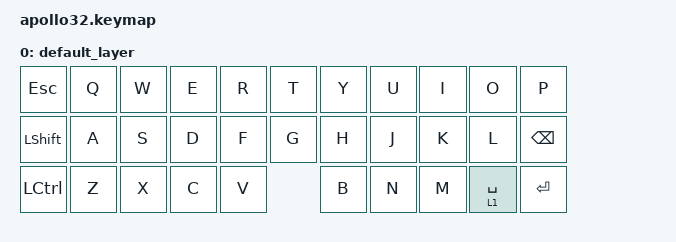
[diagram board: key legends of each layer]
#include <behaviors.dtsi>
#include <dt-bindings/zmk/keys.h>
#include <dt-bindings/zmk/bt.h>

/ {
    keymap{
        compatible = "zmk,keymap";

        default_layer{
            bindings = <
                &kp ESC    &kp Q  &kp W  &kp E  &kp R  &kp T  &kp Y  &kp U  &kp I  &kp O   &kp P
                &kp LSHFT  &kp A  &kp S  &kp D  &kp F  &kp G  &kp H  &kp J  &kp K  &kp L   &kp BKSP
                &kp LCTRL    &kp Z  &kp X  &kp C  &kp V  &kp B  &kp N  &kp M  &lt 1 SPACE  &kp ENTER
            >; 
        };
    };
};
